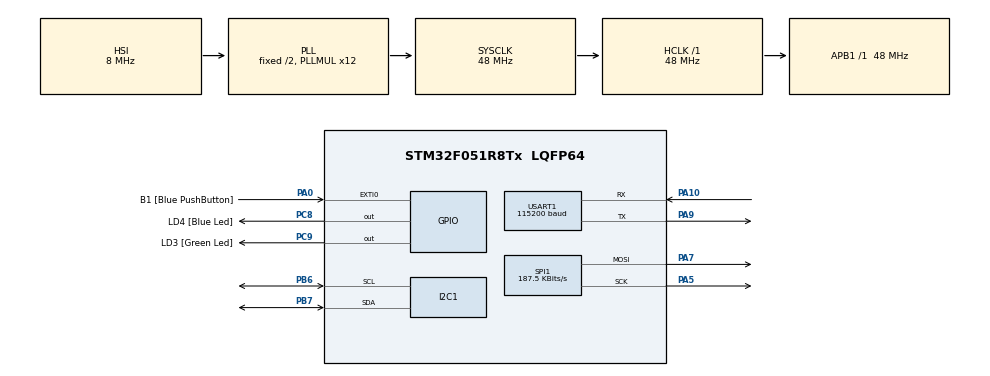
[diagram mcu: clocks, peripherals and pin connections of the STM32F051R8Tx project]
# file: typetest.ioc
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I2C1.OwnAddress=0x42
Mcu.Family=STM32F0
Mcu.Name=STM32F051R8Tx
Mcu.Package=LQFP64
NVIC.TIM2_IRQn=true\:0\:0\:false\:false\:true\:true
NVIC.TIM3_IRQn=true\:0\:0\:false\:false\:true\:true
NVIC.USART1_IRQn=true\:0\:0\:false\:false\:true\:true
PA0.GPIO_Label=B1 [Blue PushButton]
PA0.GPIO_ModeDefaultEXTI=GPIO_MODE_EVT_RISING
PA0.Signal=GPXTI0
PA10.Mode=Asynchronous
PA10.Signal=USART1_RX
PA13.GPIO_Label=SWDIO
PA13.Mode=Serial_Wire
PA13.Signal=SYS_SWDIO
PA14.GPIO_Label=SWCLK
PA14.Mode=Serial_Wire
PA14.Signal=SYS_SWCLK
PA5.Mode=TX_Only_Simplex_Unidirect_Master
PA5.Signal=SPI1_SCK
PA7.Mode=TX_Only_Simplex_Unidirect_Master
PA7.Signal=SPI1_MOSI
PA9.Mode=Asynchronous
PA9.Signal=USART1_TX
PB6.Mode=I2C
PB6.Signal=I2C1_SCL
PB7.Mode=I2C
PB7.Signal=I2C1_SDA
PC8.GPIO_Label=LD4 [Blue Led]
PC8.Signal=GPIO_Output
PC9.GPIO_Label=LD3 [Green Led]
PC9.Signal=GPIO_Output
ProjectManager.HeapSize=0x200
ProjectManager.StackSize=0x400
ProjectManager.TargetToolchain=SW4STM32
RCC.AHBFreq_Value=48000000
RCC.APB1Freq_Value=48000000
RCC.APB1TimFreq_Value=48000000
RCC.HCLKFreq_Value=48000000
RCC.PLLMUL=RCC_PLL_MUL12
RCC.SYSCLKFreq_VALUE=48000000
RCC.SYSCLKSource=RCC_SYSCLKSOURCE_PLLCLK
SPI1.BaudRatePrescaler=SPI_BAUDRATEPRESCALER_256
SPI1.CLKPolarity=SPI_POLARITY_LOW
SPI1.CalculateBaudRate=187.5 KBits/s
SPI1.DataSize=SPI_DATASIZE_8BIT
SPI1.Direction=SPI_DIRECTION_2LINES
SPI1.Mode=SPI_MODE_MASTER
SPI1.VirtualType=VM_MASTER
TIM2.Period=9
TIM2.Prescaler=47999
TIM3.Period=4
TIM3.Prescaler=47999
USART1.BaudRate=115200
USART1.VirtualMode-Asynchronous=VM_ASYNC
VP_TIM2_VS_ClockSourceINT.Mode=Internal
VP_TIM3_VS_ClockSourceINT.Mode=Internal
board=STM32F0DISCOVERY

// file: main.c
/**
  ******************************************************************************
  * @file           : main.c
  * @brief          : Main program body
  ******************************************************************************
  ** This notice applies to any and all portions of this file
  * that are not between comment pairs USER CODE BEGIN and
  * USER CODE END. Other portions of this file, whether
  * inserted by the user or by software development tools
  * are owned by their respective copyright owners.
  *
  * COPYRIGHT(c) 2018 STMicroelectronics
  *
  * Redistribution and use in source and binary forms, with or without modification,
  * are permitted provided that the following conditions are met:
  *   1. Redistributions of source code must retain the above copyright notice,
  *      this list of conditions and the following disclaimer.
  *   2. Redistributions in binary form must reproduce the above copyright notice,
  *      this list of conditions and the following disclaimer in the documentation
  *      and/or other materials provided with the distribution.
  *   3. Neither the name of STMicroelectronics nor the names of its contributors
  *      may be used to endorse or promote products derived from this software
  *      without specific prior written permission.
  *
  * THIS SOFTWARE IS PROVIDED BY THE COPYRIGHT HOLDERS AND CONTRIBUTORS "AS IS"
  * AND ANY EXPRESS OR IMPLIED WARRANTIES, INCLUDING, BUT NOT LIMITED TO, THE
  * IMPLIED WARRANTIES OF MERCHANTABILITY AND FITNESS FOR A PARTICULAR PURPOSE ARE
  * DISCLAIMED. IN NO EVENT SHALL THE COPYRIGHT HOLDER OR CONTRIBUTORS BE LIABLE
  * FOR ANY DIRECT, INDIRECT, INCIDENTAL, SPECIAL, EXEMPLARY, OR CONSEQUENTIAL
  * DAMAGES (INCLUDING, BUT NOT LIMITED TO, PROCUREMENT OF SUBSTITUTE GOODS OR
  * SERVICES; LOSS OF USE, DATA, OR PROFITS; OR BUSINESS INTERRUPTION) HOWEVER
  * CAUSED AND ON ANY THEORY OF LIABILITY, WHETHER IN CONTRACT, STRICT LIABILITY,
  * OR TORT (INCLUDING NEGLIGENCE OR OTHERWISE) ARISING IN ANY WAY OUT OF THE USE
  * OF THIS SOFTWARE, EVEN IF ADVISED OF THE POSSIBILITY OF SUCH DAMAGE.
  *
  ******************************************************************************
  */
#include "main.h"
#include "stm32f0xx_hal.h"

I2C_HandleTypeDef hi2c1;

SPI_HandleTypeDef hspi1;

TIM_HandleTypeDef htim2;
TIM_HandleTypeDef htim3;

UART_HandleTypeDef huart1;

/* USER CODE BEGIN PV */
/* Private variables ---------------------------------------------------------*/

int count = 0;
int value = 1;

int count2 = 0; //DC monitor
uint32_t compval = 0;

static char data[100]; //game commands data
//static char user_entry[100]; //what the user enters during game
static char input[2];
static char input2[2];
static char index;
static int flag = 0; //putty input flag
static int state = 200;
//static int mode;
static int tim_flag = 0;
//static int input_length = 0; //given string length
//static int user_length = 0; //user entered length
static int game_time = 0; //timer to enter string
static int countdown = 4; //start check
//static int complete_flag = 0; //user completes entering string
//static char data2[100]; //entered data
//static char index2;
//static int update_flag = 0;
static int level = 1;
static int practice_time = 0;
static char practice[100];
static int practice_score = 0;
//static int countdown2 = 4;

//static int pwmflag = 0;

//static int tim3_flag = 0;

//score
//+5 for every right letter
//-2 for every wrong letter
//0 if time runs out
static int score = 0;

//thresholds
static int threshold1 = 15;
static int threshold2 = 35;
static int threshold3 = 60;
static int threshold4 = 70;
static int threshold5 = 80;

/* USER CODE END PV */

void SystemClock_Config(void);
static void MX_GPIO_Init(void);
static void MX_SPI1_Init(void);
static void MX_USART1_UART_Init(void);
static void MX_TIM2_Init(void);
static void MX_I2C1_Init(void);
static void MX_TIM3_Init(void);

/* USER CODE BEGIN PFP */
/* Private function prototypes -----------------------------------------------*/
void App_reg_init();
//extern void TIM2_IRQHandler()
uint32_t adcRead(void);
void adcEnableChannel(int channel);

void displayString(char* output){
    int index = 0;
    while(index < strlen(output)){
        HAL_Delay(50);
        HAL_SPI_Transmit(&hspi1, (uint8_t*)(output + index), 1, 150);
        index++;
    }
}

void clearDisplay(){
    char ch1 = 0xFE;
    char ch2 = 0x51;
    HAL_Delay(50);
    HAL_SPI_Transmit(&hspi1, (uint8_t*)&ch1, 1, 150);
    HAL_Delay(50);
    HAL_SPI_Transmit(&hspi1, (uint8_t*)&ch2, 1, 150);
}

void blinkCursor(){
    char ch1 = 0xFE;
    char ch2 = 0x4B;
    HAL_Delay(50);
    HAL_SPI_Transmit(&hspi1, &ch1, 1, 150);
    HAL_Delay(50);
    HAL_SPI_Transmit(&hspi1, &ch2, 1, 150);
}

void cursorHome(){
    char ch3 = 0xFE;
    char ch4 = 0x46;
    HAL_Delay(50);
    HAL_SPI_Transmit(&hspi1, &ch3, 1, 150);
    HAL_Delay(50);
    HAL_SPI_Transmit(&hspi1, &ch4, 1, 150);
}

void HAL_UART_RxCpltCallback(UART_HandleTypeDef * huart){
    uint8_t i;
    uint8_t j;
    if(huart -> Instance == USART1){
        if(index == 0){
            for(i = 0; i < 100; i++){
                data[i] = 0;
            }
        }

       /*if(index2 == 0){
            for(j = 0; j < 100; j++){
                data2[j] = 0;
            }
        }

        if(user_length != input_length ){
            data2[index2] = input2[0];
            user_length++;
            index2++;
            update_flag = 1;
        }
        else if(user_length == input_length){
            //index2 = 0;
            complete_flag = 1;
        }*/

        if(input[0] != 13 && input[0] != 10){
            data[index] = input[0];
            index++;

        }

        else if(input[0] == 13 || input[0] == 10){
            index = 0;
            flag = 1;

        }
    }
    HAL_UART_Receive_IT(&huart1, input, 1);
    HAL_UART_Receive_IT(&huart1, input2, 1);
}

void transmitString(UART_HandleTypeDef * huart, char * output){
    int length = strlen(output);
    HAL_UART_Transmit(huart, output, length, 1000);
}

void transmiti2c(char* output){
    int index = 0;
        while(index < strlen(output)){
            HAL_Delay(50);
            HAL_I2C_Master_Transmit(&hi2c1, 0x42<<1, (uint8_t*)(output + index), 1, 150);
            index++;
        }
}

/* USER CODE END PFP */

int main(void)
{
  /* USER CODE BEGIN 1 */
    App_reg_init();
  /* USER CODE END 1 */

  /* MCU Configuration----------------------------------------------------------*/

  /* Reset of all peripherals, Initializes the Flash interface and the Systick. */
  HAL_Init();

  /* Configure the system clock */
  SystemClock_Config();

  /* Initialize all configured peripherals */
  MX_GPIO_Init();
  MX_SPI1_Init();
  MX_USART1_UART_Init();
  MX_TIM2_Init();
  MX_I2C1_Init();
  MX_TIM3_Init();
  /* USER CODE BEGIN 2 */
  HAL_UART_Receive_IT(&huart1, input, 1);
  HAL_UART_Receive_IT(&huart1, input2, 1);
  HAL_TIM_Base_Start_IT(&htim2);

  HAL_I2C_MspInit(&hi2c1);
  //blinkCursor();

  //transmitString(&huart1, "Modes: \n");
  HAL_Delay(500);

  //displayString("Enter Mode");

  //displayString("Modes:");
  //transmitString(&huart1, "Welcome: \n");

  /* USER CODE END 2 */

  /* Infinite loop */
  /* USER CODE BEGIN WHILE */
  while (1)
  {

                  //count2  = 0;
  /*                adcEnableChannel(1);
                  compval  = adcRead();
                  value = compval;
char val[100];
           sprintf(val, "Value: %d\n", value);
            transmiti2c("&");
            transmiti2c(&val);*/

      //transmiti2c("1");
      //transmiti2c("0");
      //game state machines
      //initial state

      if(state == 200){
          transmiti2c("&");
          //HAL_Delay(500);
          transmiti2c("Welcome To\n");
          HAL_Delay(500);
          transmiti2c("Team 09's\n");
          HAL_Delay(500);
          transmiti2c("Project");
          HAL_Delay(500);
          /*transmitString(&huart1, "Welcomexg: \n");*/

          HAL_Delay(500);
          clearDisplay();
          HAL_Delay(500);
          cursorHome();

          transmiti2c("&");
          HAL_Delay(500);
          transmiti2c("\n  RULES!");
          HAL_Delay(1000);

          transmiti2c("&");
          HAL_Delay(500);
          transmiti2c("$");
          HAL_Delay(500);
          transmiti2c("  +5 for\n   every\n   right\n character");
          HAL_Delay(1500);
          transmiti2c("$");
          HAL_Delay(500);

          transmiti2c("&");
          HAL_Delay(500);
          transmiti2c("%");
          HAL_Delay(500);
          transmiti2c("  -2 for\n   every\n   wrong\n character");
          HAL_Delay(1500);
          transmiti2c("%");
          HAL_Delay(500);
          state = 0;
      }

      else if(state == 0){
          clearDisplay();
          cursorHome();
          displayString("Enter Mode");
          transmiti2c("&");
          HAL_Delay(500);
          transmiti2c("   Ready\n   Player\n     1\n");
          HAL_Delay(2000);
          transmiti2c("&");
          HAL_Delay(500);
          transmiti2c("\nPress x to  start \n");
          while(flag == 0){
          }
          flag = 0;
          if(strcmp(data, "x") == 0){
              state = 1;
          }
          else{
              state = 0;
          }
      }

      //display mode state
      else if(state == 1){
          transmiti2c("&");
          HAL_Delay(500);
          transmiti2c("Enter Mode\n");
          HAL_Delay(500);
          transmiti2c("1.Game\n");
          HAL_Delay(500);
          transmiti2c("2.Practice");
          state = 2;
      }

      //enter mode state
      else if(state == 2){
          while(flag == 0){
          }
          flag = 0;

          int mode = atoi(data);

          if(mode == 1){
              state = 30;
          }
          else if(mode == 2){
              state = 3;
          }
          else{
              state = 2;
          }

      }

      //practice mode
      else if(state == 3){
          transmiti2c("&");
          HAL_Delay(500);
          transmiti2c("Enter 30  characters\n");
          while(flag == 0){
          }
          flag = 0;

          //int practice_length = 30;

          for(int i = 0; i < 30; i++){
              practice[i] = data[i];
          }

          HAL_Delay(500);
          transmiti2c("&");
          HAL_Delay(500);
          transmiti2c("Enter the time limit\n");
          while(flag == 0){
          }
          flag = 0;

          practice_time = atoi(data);

          state = 91;
      }

      //countdown to start
      else if(state == 4){
          countdown = 4;
          transmiti2c("&");
          HAL_Delay(500);
          transmiti2c(" Type when   buzzer \n   beeps!");
          //HAL_Delay(500);
          //transmiti2c("   time \n  starts\n");
          HAL_Delay(500);
          //transmitString(&huart1,"Look at OLED for start time. String will display once you can start.\n");
          //transmitString(&huart1,"Press enter when you are done typing.\n");

          while(countdown != 0){
              if(tim_flag == 1){
                  tim_flag = 0;
                  countdown--;

                  clearDisplay();
                  cursorHome();
                  char times[100];
                  sprintf(times, "%d", countdown);

                  displayString(times);
              }
          }

          if(countdown == 0){
              clearDisplay();
              cursorHome();
              displayString("start");
              state = 5;
          }
      }

      else if(state == 5){

          char* str;
          char* str1;

          if(level == 1){
              str = "Best Class";
              str1 = "Best Class";
              game_time = 4;
          }
          else if(level == 2){
              str = "ECE362 is best class";
              str1 = "ECE362 is best class";
              game_time = 6;
          }
          else if(level == 3){
              str = "Meyers is the best professor";
              str1 = "Meyers is the best  professor";
              game_time = 11;
          }
          else if(level == 4){
              str = "Meyers is the best professor";
              str1 = "Meyers is the best  professor";
              game_time = 8;
          }
          else if(level == 5){
              str = "Meyers is the best professor";
              str1 = "Meyers is the best  professor";
              game_time = 6;
          }

          char val[100];
          sprintf(val, "\nYou have \n%d seconds", game_time);
          transmiti2c("&");
          HAL_Delay(500);
          transmiti2c(&val);
          HAL_Delay(2000);

          transmiti2c("&");
          HAL_Delay(500);
          transmiti2c(str1);

          HAL_Delay(100);
          TIM1->CCR1 = 1500;
          HAL_Delay(350);
          TIM1 ->CCR1 = 0;

          transmitString(&huart1,"\n");

          while(flag == 0 && game_time != 0){

              if(tim_flag == 1){
                  tim_flag = 0;
                  game_time--;

                  clearDisplay();
                  cursorHome();
                  char times[100];
                  sprintf(times, "%d", game_time);
                  displayString(times);
              }
          }
          flag = 0;

          transmiti2c("&");
          if(game_time == 0){
              TIM1->CCR1 = 1500;
              HAL_Delay(100);
              transmiti2c("Timeout.");
              HAL_Delay(1000);
              TIM1->CCR1 = 0;

              score = 0;
          }
          else{
              for(int i = 0; i < strlen(str); i++){
                  char* val = str[i];
                  if(data[i] == str[i]){
                      score += 5;
                      transmiti2c("$");
                      transmiti2c(&val);
                      transmiti2c("$");
                  }
                  else{
                      score -= 2;
                      transmiti2c("%");
                      transmiti2c(&val);
                      transmiti2c("%");
                  }
              }
          }
          state = 6;
      }

      else if(state == 6){
          char result[100];
          sprintf(result, "\nScore: %d", score);

          clearDisplay();
          cursorHome();
          displayString(result);

          transmitString(&huart1,"\n\n");
          transmiti2c(&result);
          transmitString(&huart1,"\n\n");

          if(level == 1){
              if(score >= threshold1){
                  state = 7;
              }
              else{
                  state = 50;
              }
          }
          else if(level == 2){
              if(score >= threshold2){
                  state = 7;
              }
              else{
                  state = 50;
              }
          }
          else if(level == 3){
              if(score >= threshold3){
                  state = 7;
              }
              else{
                  state = 50;
              }
          }
          else if(level == 4){
              if(score >= threshold4){
                  state = 7;
              }
              else{
                  state = 50;
              }
          }
          else if(level == 5){
              if(score >= threshold5){
                  state = 100; //game complete state
              }
              else{
                  state = 50;
              }
          }

      }

      else if(state == 7){
          char out[100];
          sprintf(out, "You have  cleared   level %d\n", level);
          HAL_Delay(2000);
          transmiti2c("&");
          transmiti2c(&out);
          HAL_Delay(2000);

          score = 0;

          level++;

          transmiti2c("&");
          HAL_Delay(500);
          transmiti2c("x:Continue\n");
          HAL_Delay(500);
          transmiti2c("m:Menu\n");
          HAL_Delay(500);
          transmiti2c("r:Reset\n");

          while(flag == 0){
          }
          flag = 0;

          if(strcmp(data, "x") == 0){
              state = 30;
          }
          else if(strcmp(data, "m") == 0){
              state = 1;
          }
          else if(strcmp(data, "m") == 0){
              state = 200;
          }
          else{
              state = 25;
          }
      }

      else if(state == 50){
          score = 0;
          char out[100];
          sprintf(out, "You have  failed to clear     level %d.\n", level);

          HAL_Delay(2000);
          transmiti2c("&");
          HAL_Delay(500);
          transmiti2c(&out);
          HAL_Delay(2000);

          transmiti2c("&");
          HAL_Delay(500);
          transmiti2c("x:Retry\n");
          HAL_Delay(500);
          transmiti2c("m:Menu\n");
          HAL_Delay(500);
          transmiti2c("r:Reset\n");

          while(flag == 0){
          }
          flag = 0;

          if(strcmp(data, "x") == 0){
              state = 30;
          }
          else if(strcmp(data, "m") == 0){
              state = 1;
          }
          else if(strcmp(data, "r") == 0){
              state = 200;
          }
          else{
              state = 50;
          }
      }

      else if(state == 100){
          HAL_Delay(2000);
          transmiti2c("&");
          HAL_Delay(500);
          transmiti2c("\n You have\n   won!!");
          HAL_Delay(2000);
          /*transmiti2c("#");
          HAL_Delay(2000);
          transmiti2c("#");
          HAL_Delay(500);
          transmiti2c("&");
          HAL_Delay(500);*/
          transmiti2c("&");
          HAL_Delay(500);
          transmiti2c("m:Menu\n");
          HAL_Delay(500);
          transmiti2c("r:Restart\n");

          while(flag == 0){
          }
          flag = 0;

          level = 1;

          if(strcmp(data, "r") == 0){

              score = 0;
              state = 200;
          }
          else if(strcmp(data, "m") == 0){
              state = 1;
          }

      }

      else if(state == 30){
          char out[100];
          sprintf(out, "\n  Level %d \n", level);
          transmiti2c("&");
          HAL_Delay(500);
          transmiti2c(&out);
          HAL_Delay(2000);

          state = 4;

      }

      else if(state == 25){
          transmitString(&huart1,"Press x to continue.\n");
          while(flag == 0){
          }
          flag = 0;

          if(strcmp(data, "x") == 0){
              state = 30;
          }
          else{
              state = 25;
          }
      }

      else if(state == 91){

          practice_score = 0;
          transmiti2c("&");
          HAL_Delay(500);
          transmiti2c("Type when   buzzer \n   beeps!");
          HAL_Delay(500);
          transmiti2c("&");
          transmiti2c(&practice);

          /*int countdown2 = 4;

          while(countdown2 != 0){
              if(tim_flag == 1){
                  tim_flag = 0;
                  countdown2--;
              }
          }
    */
          HAL_Delay(100);
          TIM1 -> CCR1 = 1500;
          HAL_Delay(350);
          TIM1 -> CCR1 = 0;

          while(flag == 0 && practice_time != 0){

              if(tim_flag == 1){
                  tim_flag = 0;
                  practice_time--;

                  clearDisplay();
                  cursorHome();
                  char times[100];
                  sprintf(times, "%d", practice_time);
                  displayString(times);
              }
          }
          flag = 0;

          transmiti2c("&");

          if(practice_time == 0){
              //transmiti2c("Timeout.\n");
              TIM1->CCR1 = 1500;
              HAL_Delay(100);
              transmiti2c("Timeout.");
              HAL_Delay(1000);
              TIM1->CCR1 = 0;
              practice_score = 0;
          }
          else{
              for(int i = 0; i < 30; i++){
                  char* val = practice[i];
                  if(data[i] == practice[i]){
                      practice_score += 5;
                      transmiti2c("$");
                      transmiti2c(&val);
                      transmiti2c("$");
                  }
                  else{
                      practice_score -= 2;
                      transmiti2c("%");
                      transmiti2c(&val);
                      transmiti2c("%");
                  }
              }
          }

          state = 93;
      }

      else if(state == 92){
          practice_score = 0;
          practice_time = 0;

          HAL_Delay(2000);
          transmiti2c("&");
          HAL_Delay(500);
          transmiti2c("p:Practice\n");
          HAL_Delay(500);
          transmiti2c("m:Menu\n");
          HAL_Delay(500);
          transmiti2c("r:Restart");
          //state = 97;

          while(flag == 0){
          }
          flag = 0;

          if(strcmp(data, "m") == 0){
              state = 1;
          }
          else if(strcmp(data, "p")==0){
              state = 3;
          }
          else if(strcmp(data, "r")==0){
              state = 200;
          }
          else{
              state = 92;
          }
      }

      else if(state == 93){
          /*char result[100];
          sprintf(result, "\nScore: %d", practice_score);
          transmiti2c(&result);*/

          state = 92;
      }

  /* USER CODE END WHILE */

  }

}

void SystemClock_Config(void)
{

  RCC_OscInitTypeDef RCC_OscInitStruct;
  RCC_ClkInitTypeDef RCC_ClkInitStruct;
  RCC_PeriphCLKInitTypeDef PeriphClkInit;

    /**Initializes the CPU, AHB and APB busses clocks
    */
  RCC_OscInitStruct.OscillatorType = RCC_OSCILLATORTYPE_HSI;
  RCC_OscInitStruct.HSIState = RCC_HSI_ON;
  RCC_OscInitStruct.HSICalibrationValue = 16;
  RCC_OscInitStruct.PLL.PLLState = RCC_PLL_ON;
  RCC_OscInitStruct.PLL.PLLSource = RCC_PLLSOURCE_HSI;
  RCC_OscInitStruct.PLL.PLLMUL = RCC_PLL_MUL12;
  RCC_OscInitStruct.PLL.PREDIV = RCC_PREDIV_DIV1;
  if (HAL_RCC_OscConfig(&RCC_OscInitStruct) != HAL_OK)
  {
    _Error_Handler(__FILE__, __LINE__);
  }

    /**Initializes the CPU, AHB and APB busses clocks
    */
  RCC_ClkInitStruct.ClockType = RCC_CLOCKTYPE_HCLK|RCC_CLOCKTYPE_SYSCLK
                              |RCC_CLOCKTYPE_PCLK1;
  RCC_ClkInitStruct.SYSCLKSource = RCC_SYSCLKSOURCE_PLLCLK;
  RCC_ClkInitStruct.AHBCLKDivider = RCC_SYSCLK_DIV1;
  RCC_ClkInitStruct.APB1CLKDivider = RCC_HCLK_DIV1;

  if (HAL_RCC_ClockConfig(&RCC_ClkInitStruct, FLASH_LATENCY_1) != HAL_OK)
  {
    _Error_Handler(__FILE__, __LINE__);
  }

  PeriphClkInit.PeriphClockSelection = RCC_PERIPHCLK_USART1|RCC_PERIPHCLK_I2C1;
  PeriphClkInit.Usart1ClockSelection = RCC_USART1CLKSOURCE_PCLK1;
  PeriphClkInit.I2c1ClockSelection = RCC_I2C1CLKSOURCE_HSI;
  if (HAL_RCCEx_PeriphCLKConfig(&PeriphClkInit) != HAL_OK)
  {
    _Error_Handler(__FILE__, __LINE__);
  }

    /**Configure the Systick interrupt time
    */
  HAL_SYSTICK_Config(HAL_RCC_GetHCLKFreq()/1000);

    /**Configure the Systick
    */
  HAL_SYSTICK_CLKSourceConfig(SYSTICK_CLKSOURCE_HCLK);

  /* SysTick_IRQn interrupt configuration */
  HAL_NVIC_SetPriority(SysTick_IRQn, 0, 0);
}

/* I2C1 init function */
static void MX_I2C1_Init(void)
{

  hi2c1.Instance = I2C1;
  hi2c1.Init.Timing = 0x2000090E;
  hi2c1.Init.OwnAddress1 = 132;
  hi2c1.Init.AddressingMode = I2C_ADDRESSINGMODE_7BIT;
  hi2c1.Init.DualAddressMode = I2C_DUALADDRESS_DISABLE;
  hi2c1.Init.OwnAddress2 = 0;
  hi2c1.Init.OwnAddress2Masks = I2C_OA2_NOMASK;
  hi2c1.Init.GeneralCallMode = I2C_GENERALCALL_DISABLE;
  hi2c1.Init.NoStretchMode = I2C_NOSTRETCH_DISABLE;
  if (HAL_I2C_Init(&hi2c1) != HAL_OK)
  {
    _Error_Handler(__FILE__, __LINE__);
  }

    /**Configure Analogue filter
    */
  if (HAL_I2CEx_ConfigAnalogFilter(&hi2c1, I2C_ANALOGFILTER_ENABLE) != HAL_OK)
  {
    _Error_Handler(__FILE__, __LINE__);
  }

    /**Configure Digital filter
    */
  if (HAL_I2CEx_ConfigDigitalFilter(&hi2c1, 0) != HAL_OK)
  {
    _Error_Handler(__FILE__, __LINE__);
  }

}

/* SPI1 init function */
static void MX_SPI1_Init(void)
{

  /* SPI1 parameter configuration*/
  hspi1.Instance = SPI1;
  hspi1.Init.Mode = SPI_MODE_MASTER;
  hspi1.Init.Direction = SPI_DIRECTION_2LINES;
  hspi1.Init.DataSize = SPI_DATASIZE_8BIT;
  hspi1.Init.CLKPolarity = SPI_POLARITY_LOW;
  hspi1.Init.CLKPhase = SPI_PHASE_1EDGE;
  hspi1.Init.NSS = SPI_NSS_SOFT;
  hspi1.Init.BaudRatePrescaler = SPI_BAUDRATEPRESCALER_256;
  hspi1.Init.FirstBit = SPI_FIRSTBIT_MSB;
  hspi1.Init.TIMode = SPI_TIMODE_DISABLE;
  hspi1.Init.CRCCalculation = SPI_CRCCALCULATION_DISABLE;
  hspi1.Init.CRCPolynomial = 7;
  hspi1.Init.CRCLength = SPI_CRC_LENGTH_DATASIZE;
  hspi1.Init.NSSPMode = SPI_NSS_PULSE_ENABLE;
  if (HAL_SPI_Init(&hspi1) != HAL_OK)
  {
    _Error_Handler(__FILE__, __LINE__);
  }

}

/* TIM2 init function */
static void MX_TIM2_Init(void)
{

  TIM_ClockConfigTypeDef sClockSourceConfig;
  TIM_MasterConfigTypeDef sMasterConfig;

  htim2.Instance = TIM2;
  htim2.Init.Prescaler = 47999;
  htim2.Init.CounterMode = TIM_COUNTERMODE_UP;
  htim2.Init.Period = 999;
  htim2.Init.ClockDivision = TIM_CLOCKDIVISION_DIV1;
  htim2.Init.AutoReloadPreload = TIM_AUTORELOAD_PRELOAD_DISABLE;
  if (HAL_TIM_Base_Init(&htim2) != HAL_OK)
  {
    _Error_Handler(__FILE__, __LINE__);
  }

  sClockSourceConfig.ClockSource = TIM_CLOCKSOURCE_INTERNAL;
  if (HAL_TIM_ConfigClockSource(&htim2, &sClockSourceConfig) != HAL_OK)
  {
    _Error_Handler(__FILE__, __LINE__);
  }

  sMasterConfig.MasterOutputTrigger = TIM_TRGO_RESET;
  sMasterConfig.MasterSlaveMode = TIM_MASTERSLAVEMODE_DISABLE;
  if (HAL_TIMEx_MasterConfigSynchronization(&htim2, &sMasterConfig) != HAL_OK)
  {
    _Error_Handler(__FILE__, __LINE__);
  }

}

/* TIM3 init function */
static void MX_TIM3_Init(void)
{

  TIM_ClockConfigTypeDef sClockSourceConfig;
  TIM_MasterConfigTypeDef sMasterConfig;

  htim3.Instance = TIM3;
  htim3.Init.Prescaler = 47999;
  htim3.Init.CounterMode = TIM_COUNTERMODE_UP;
  htim3.Init.Period = 4;
  htim3.Init.ClockDivision = TIM_CLOCKDIVISION_DIV1;
  htim3.Init.AutoReloadPreload = TIM_AUTORELOAD_PRELOAD_DISABLE;
  if (HAL_TIM_Base_Init(&htim3) != HAL_OK)
  {
    _Error_Handler(__FILE__, __LINE__);
  }

  sClockSourceConfig.ClockSource = TIM_CLOCKSOURCE_INTERNAL;
  if (HAL_TIM_ConfigClockSource(&htim3, &sClockSourceConfig) != HAL_OK)
  {
    _Error_Handler(__FILE__, __LINE__);
  }

  sMasterConfig.MasterOutputTrigger = TIM_TRGO_RESET;
  sMasterConfig.MasterSlaveMode = TIM_MASTERSLAVEMODE_DISABLE;
  if (HAL_TIMEx_MasterConfigSynchronization(&htim3, &sMasterConfig) != HAL_OK)
  {
    _Error_Handler(__FILE__, __LINE__);
  }

}

/* USART1 init function */
static void MX_USART1_UART_Init(void)
{

  huart1.Instance = USART1;
  huart1.Init.BaudRate = 9600;
  huart1.Init.WordLength = UART_WORDLENGTH_8B;
  huart1.Init.StopBits = UART_STOPBITS_1;
  huart1.Init.Parity = UART_PARITY_NONE;
  huart1.Init.Mode = UART_MODE_TX_RX;
  huart1.Init.HwFlowCtl = UART_HWCONTROL_NONE;
  huart1.Init.OverSampling = UART_OVERSAMPLING_16;
  huart1.Init.OneBitSampling = UART_ONE_BIT_SAMPLE_DISABLE;
  huart1.AdvancedInit.AdvFeatureInit = UART_ADVFEATURE_NO_INIT;
  if (HAL_UART_Init(&huart1) != HAL_OK)
  {
    _Error_Handler(__FILE__, __LINE__);
  }

}

/** Configure pins as
        * Analog
        * Input
        * Output
        * EVENT_OUT
        * EXTI
*/
static void MX_GPIO_Init(void)
{

  GPIO_InitTypeDef GPIO_InitStruct;

  /* GPIO Ports Clock Enable */
  __HAL_RCC_GPIOA_CLK_ENABLE();
  __HAL_RCC_GPIOC_CLK_ENABLE();
  __HAL_RCC_GPIOB_CLK_ENABLE();

  /*Configure GPIO pin Output Level */
  HAL_GPIO_WritePin(GPIOC, LD4_Pin|LD3_Pin, GPIO_PIN_RESET);

  /*Configure GPIO pin : B1_Pin */
  GPIO_InitStruct.Pin = B1_Pin;
  GPIO_InitStruct.Mode = GPIO_MODE_EVT_RISING;
  GPIO_InitStruct.Pull = GPIO_NOPULL;
  HAL_GPIO_Init(B1_GPIO_Port, &GPIO_InitStruct);

  /*Configure GPIO pins : LD4_Pin LD3_Pin */
  GPIO_InitStruct.Pin = LD4_Pin|LD3_Pin;
  GPIO_InitStruct.Mode = GPIO_MODE_OUTPUT_PP;
  GPIO_InitStruct.Pull = GPIO_NOPULL;
  GPIO_InitStruct.Speed = GPIO_SPEED_FREQ_LOW;
  HAL_GPIO_Init(GPIOC, &GPIO_InitStruct);

}

/* USER CODE BEGIN 4 */
void HAL_TIM_PeriodElapsedCallback (TIM_HandleTypeDef *htim){
    if(htim -> Instance == TIM2){
        tim_flag = 1;
        count2++;
    }

    /*if(htim -> Instance == TIM3){
        //tim3_flag = 1;
        count++;
        count2++;
    }*/
}

void App_reg_init(){
        //Configuring GPIOA as alternating function --------------------------------
        RCC->AHBENR |= 0x000E0000; //clock for GPIOA,C and B
        GPIOA->MODER |= 0x00020000;  // PA8,9,10 as alternate
        GPIOA->MODER |= 0x0000003C;  // PA1,2 as analog inputs and B1-PA0
        //configure as ch1
        GPIOA->AFR[1] |= 0x00000002;//PA8,9,10 set to PWM
        //GPIOA->AFR[2] |= 0x00000002;
    //  GPIOA->AFR[3] |= 0x00000002;

        //GPIOB->MODER |= 0x01550000;  // PB8,9,10,11,12 as output

        //Configuring TIM 1---------------------------------------------------------
        RCC -> APB2ENR |= RCC_APB2ENR_TIM1EN;;
        //setting requried freq
        //TIM1->PSC = 7;//EFFECT OF PSC?
        //TIM1->ARR = 99;
        TIM1->ARR = 4095;//?12 bit values

        //DUTY CYCLE
    //  TIM1->CCR1 = 100;          //-----------UNCOMMENT THIS FOR STEP 1
        //COUNT ENABLE
        //TIM1->CR1 &= 0XFFEF;
        //SETTING PWM
        TIM1->CCMR1 |= TIM_CCMR1_OC1M_2 | TIM_CCMR1_OC1M_1 | TIM_CCMR1_OC1PE ;
        //e8 instead of 60   ENABLED OC1-COUNTER ENABLE-PWM MODE1 AND OC1 PRELOADER ENALBE
        //TIM1->CCMR1 |= TIM_CCMR1_OC2M_2 | TIM_CCMR1_OC2M_1 | TIM_CCMR1_OC2PE ;
        //TIM1->CCMR2 |= TIM_CCMR2_OC3M_2 | TIM_CCMR2_OC3M_1 | TIM_CCMR2_OC3PE ;

        TIM1->CCER |= TIM_CCER_CC1E;
//        TIM1->CCER |= TIM_CCER_CC2E;
  //      TIM1->CCER |= TIM_CCER_CC3E;//
        TIM1->BDTR |= 0x00008000; //16th bit
//               TIM1 -> DIER |= 0x0001;

         TIM1->CR1 |= 0x00000001;//&=

          TIM1->CCR1 = 0;
      //      TIM1->CCR2 = 0;
    //        TIM1->CCR3 = 0;

        //DIER NOT REQD
        //----------------------------------------------------------------

        //ADC
        RCC->APB2ENR |= RCC_APB2ENR_ADC1EN;
        RCC->CR2 |= RCC_CR2_HSI14ON;
        while((RCC->CR2 & RCC_CR2_HSI14RDY) == 0);
        // Enable ADC
        ADC1->CR |= ADC_CR_ADEN;
        // Wait for ADC to be ready
        while((ADC1->ISR & ADC_ISR_ADRDY) == 0);

    //  -----------------------------------------
        //TIM2 config - 5ms interrupt service
        /*RCC->APB1ENR |= 0x00000001;
        TIM2->CR1 |= 0x00000000;
        TIM2->PSC = 7999;
        TIM2->ARR = 4;
        TIM2->DIER |= 0x00000001;
        TIM2->CR1 |= 0x00000001;

        NVIC->ISER[0] |= 0x00008000;
        NVIC->ICPR[0] |= 0x00008000;*/

    return;
}

void adcEnableChannel(int channel) {
// Wait for ADC to be ready
while((ADC1->ISR & ADC_ISR_ADRDY) == 0);
// Ensure ADCStart = 0
while((ADC1->CR & ADC_CR_ADSTART) == 1);
ADC1->CHSELR = 0;
ADC1->CHSELR |= 1 << channel;
}

uint32_t adcRead(void) {
uint32_t adcValue = 0;
// Wait for ADC to be ready
while((ADC1->ISR & ADC_ISR_ADRDY) == 0);
// Start the ADC (ADCStart = 1)
ADC1->CR |= ADC_CR_ADSTART;
// Wait for end of conversion
while((ADC1->ISR & ADC_ISR_EOC) == 0);
adcValue = ADC1->DR;
return adcValue;
}

/* USER CODE END 4 */

void _Error_Handler(char *file, int line)
{
  while(1)
  {
  }
}

/************************ (C) COPYRIGHT STMicroelectronics *****END OF FILE****/
